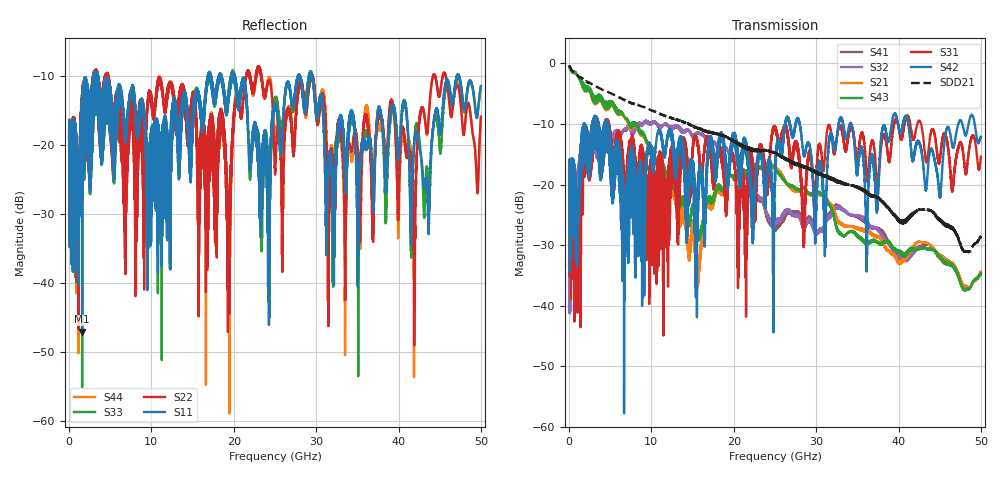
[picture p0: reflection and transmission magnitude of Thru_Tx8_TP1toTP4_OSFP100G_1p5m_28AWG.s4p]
! Touchstone data
! Created: 27-Feb-2019 by IdEM 12 (12.1.0)
! COMMENTS
!  Created Wed Feb 27 09:43:39 2019
!  64 Port Network Data from SP1.SP block
!  freq  magS1_1  angS1_1  magS1_2  angS1_2  magS1_3  angS1_3  magS1_4  angS1_4
!  magS1_5  angS1_5  magS1_6  angS1_6  magS1_7  angS1_7  magS1_8  angS1_8
!  magS1_9  angS1_9  magS1_10  angS1_10  magS1_11  angS1_11  magS1_12  angS1_12
!  magS1_13  angS1_13  magS1_14  angS1_14  magS1_15  angS1_15  magS1_16  angS1_16
!  magS1_17  angS1_17  magS1_18  angS1_18  magS1_19  angS1_19  magS1_20  angS1_20
!  magS1_21  angS1_21  magS1_22  angS1_22  magS1_23  angS1_23  magS1_24  angS1_24
!  magS1_25  angS1_25  magS1_26  angS1_26  magS1_27  angS1_27  magS1_28  angS1_28
!  magS1_29  angS1_29  magS1_30  angS1_30  magS1_31  angS1_31  magS1_32  angS1_32
!  magS1_33  angS1_33  magS1_34  angS1_34  magS1_35  angS1_35  magS1_36  angS1_36
!  magS1_37  angS1_37  magS1_38  angS1_38  magS1_39  angS1_39  magS1_40  angS1_40
!  magS1_41  angS1_41  magS1_42  angS1_42  magS1_43  angS1_43  magS1_44  angS1_44
!  magS1_45  angS1_45  magS1_46  angS1_46  magS1_47  angS1_47  magS1_48  angS1_48
!  magS1_49  angS1_49  magS1_50  angS1_50  magS1_51  angS1_51  magS1_52  angS1_52
!  magS1_53  angS1_53  magS1_54  angS1_54  magS1_55  angS1_55  magS1_56  angS1_56
!  magS1_57  angS1_57  magS1_58  angS1_58  magS1_59  angS1_59  magS1_60  angS1_60
!  magS1_61  angS1_61  magS1_62  angS1_62  magS1_63  angS1_63  magS1_64  angS1_64
!  magS2_1  angS2_1  magS2_2  angS2_2  magS2_3  angS2_3  magS2_4  angS2_4
!  magS2_5  angS2_5  magS2_6  angS2_6  magS2_7  angS2_7  magS2_8  angS2_8
!  magS2_9  angS2_9  magS2_10  angS2_10  magS2_11  angS2_11  magS2_12  angS2_12
!  magS2_13  angS2_13  magS2_14  angS2_14  magS2_15  angS2_15  magS2_16  angS2_16
!  magS2_17  angS2_17  magS2_18  angS2_18  magS2_19  angS2_19  magS2_20  angS2_20
!  magS2_21  angS2_21  magS2_22  angS2_22  magS2_23  angS2_23  magS2_24  angS2_24
!  magS2_25  angS2_25  magS2_26  angS2_26  magS2_27  angS2_27  magS2_28  angS2_28
!  magS2_29  angS2_29  magS2_30  angS2_30  magS2_31  angS2_31  magS2_32  angS2_32
!  magS2_33  angS2_33  magS2_34  angS2_34  magS2_35  angS2_35  magS2_36  angS2_36
!  magS2_37  angS2_37  magS2_38  angS2_38  magS2_39  angS2_39  magS2_40  angS2_40
!  magS2_41  angS2_41  magS2_42  angS2_42  magS2_43  angS2_43  magS2_44  angS2_44
!  magS2_45  angS2_45  magS2_46  angS2_46  magS2_47  angS2_47  magS2_48  angS2_48
!  magS2_49  angS2_49  magS2_50  angS2_50  magS2_51  angS2_51  magS2_52  angS2_52
!  magS2_53  angS2_53  magS2_54  angS2_54  magS2_55  angS2_55  magS2_56  angS2_56
!  magS2_57  angS2_57  magS2_58  angS2_58  magS2_59  angS2_59  magS2_60  angS2_60
!  magS2_61  angS2_61  magS2_62  angS2_62  magS2_63  angS2_63  magS2_64  angS2_64
!  magS3_1  angS3_1  magS3_2  angS3_2  magS3_3  angS3_3  magS3_4  angS3_4
!  magS3_5  angS3_5  magS3_6  angS3_6  magS3_7  angS3_7  magS3_8  angS3_8
!  magS3_9  angS3_9  magS3_10  angS3_10  magS3_11  angS3_11  magS3_12  angS3_12
!  magS3_13  angS3_13  magS3_14  angS3_14  magS3_15  angS3_15  magS3_16  angS3_16
!  magS3_17  angS3_17  magS3_18  angS3_18  magS3_19  angS3_19  magS3_20  angS3_20
!  magS3_21  angS3_21  magS3_22  angS3_22  magS3_23  angS3_23  magS3_24  angS3_24
!  magS3_25  angS3_25  magS3_26  angS3_26  magS3_27  angS3_27  magS3_28  angS3_28
!  magS3_29  angS3_29  magS3_30  angS3_30  magS3_31  angS3_31  magS3_32  angS3_32
!  magS3_33  angS3_33  magS3_34  angS3_34  magS3_35  angS3_35  magS3_36  angS3_36
!  magS3_37  angS3_37  magS3_38  angS3_38  magS3_39  angS3_39  magS3_40  angS3_40
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# Hz S MA R 50
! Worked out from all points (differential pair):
!   5000 points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, 10 MHz to 50 GHz, reference 50 ohm
!   strongest paths, dB at 10 MHz, 12.51 GHz, 25.01 GHz, 37.51 GHz, 50 GHz:
!     S42: -19.6, -12.0, -18.5, -21.3, -12.1
!     S31: -19.6, -16.2, -10.8, -21.0, -15.4
!     S43: -0.6, -19.8, -17.3, -29.4, -34.6
!     S21: -0.6, -21.2, -17.0, -28.5, -34.4
!     S32: -33.3, -10.6, -26.7, -27.4, -34.7
!     S41: -33.3, -10.7, -27.7, -27.2, -34.4
!   taken as a pair (ports 3,1 in; 4,2 out), SDD21 dB: -0.4, -9.0, -14.8, -22.1, -28.5
!   lowest |S11| = -47.1 dB at 1.59 GHz (marker M1), VSWR 1.01, Z = 49.7 + j0.298 ohm
!   |S11| at or under -10 dB: 3.482 GHz to 16.85 GHz (13.37 GHz wide, 132 % of centre); 20.15 GHz to 27.79 GHz (7.635 GHz wide, 31.9 % of centre); 29.53 GHz to 47.08 GHz (17.55 GHz wide, 45.8 % of centre)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
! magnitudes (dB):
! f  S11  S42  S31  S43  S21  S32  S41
! 10 MHz  -19.2  -19.6  -19.6  -0.6  -0.6  -33.3  -33.3
! 1.59 GHz  -47.1  -17.3  -24.2  -3.0  -3.0  -13.9  -13.9
! 15.65 GHz  -13.1  -19.5  -13.3  -29.2  -36.8  -11.6  -11.5
! 19.4 GHz  -13.3  -19.2  -17.3  -18.7  -18.7  -14.8  -14.7
! 23.98 GHz  -20.0  -20.0  -21.1  -16.6  -16.4  -24.8  -25.3
! 33.48 GHz  -22.7  -11.6  -13.9  -28.5  -26.9  -24.5  -24.4
! 50 GHz  -11.5  -12.1  -15.4  -34.6  -34.4  -34.7  -34.4
